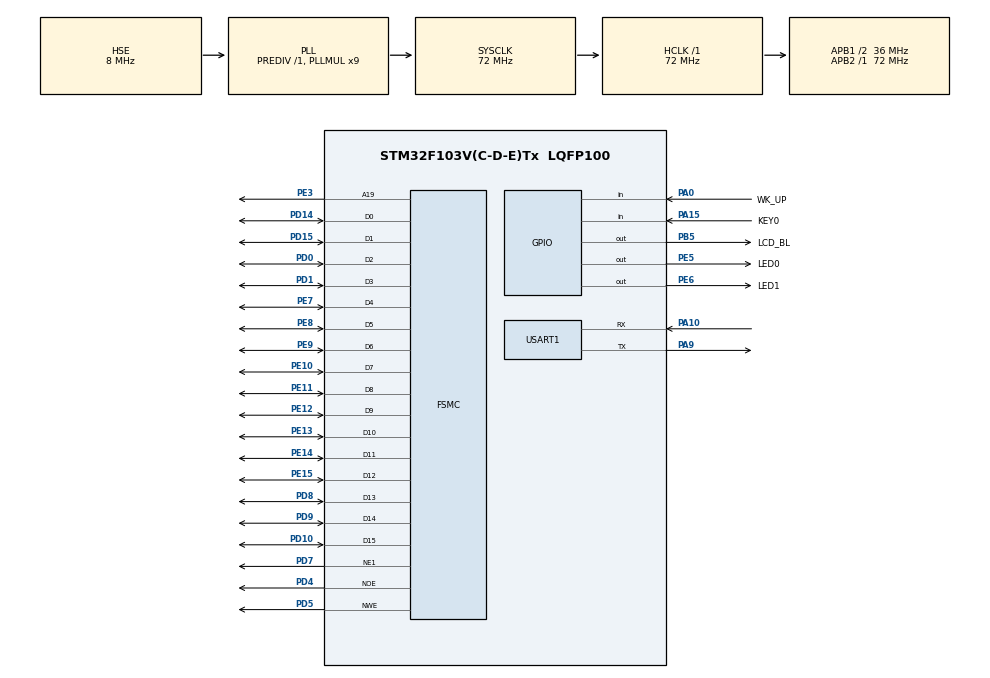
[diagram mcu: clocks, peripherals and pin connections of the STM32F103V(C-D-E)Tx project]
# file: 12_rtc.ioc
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FSMC.AddressSetupTime1=0
FSMC.DataSetupTime1=15
FSMC.ExtendedAddressSetupTime1=0
FSMC.ExtendedDataSetupTime1=1
FSMC.ExtendedMode1=FSMC_EXTENDED_MODE_ENABLE
Mcu.Family=STM32F1
Mcu.Name=STM32F103V(C-D-E)Tx
Mcu.Package=LQFP100
NVIC.PriorityGroup=NVIC_PRIORITYGROUP_2
NVIC.RTC_IRQn=true\:2\:2\:true\:false\:true\:true\:true\:true
NVIC.TIM4_IRQn=true\:2\:1\:true\:false\:true\:true\:true\:true
NVIC.USART1_IRQn=true\:2\:2\:true\:false\:true\:true\:true\:true
OSC_IN.Mode=HSE-External-Oscillator
OSC_IN.Signal=RCC_OSC_IN
OSC_OUT.Mode=HSE-External-Oscillator
OSC_OUT.Signal=RCC_OSC_OUT
PA0-WKUP.GPIO_Label=WK_UP
PA0-WKUP.GPIO_PuPd=GPIO_PULLDOWN
PA0-WKUP.Signal=GPIO_Input
PA10.Mode=Asynchronous
PA10.Signal=USART1_RX
PA13.Mode=Serial_Wire
PA13.Signal=SYS_JTMS-SWDIO
PA14.Mode=Serial_Wire
PA14.Signal=SYS_JTCK-SWCLK
PA15.GPIO_Label=KEY0
PA15.GPIO_PuPd=GPIO_PULLDOWN
PA15.Signal=GPIO_Input
PA9.Mode=Asynchronous
PA9.Signal=USART1_TX
PB5.GPIO_Label=LCD_BL
PB5.GPIO_PuPd=GPIO_PULLUP
PB5.GPIO_Speed=GPIO_SPEED_FREQ_HIGH
PB5.PinState=GPIO_PIN_SET
PB5.Signal=GPIO_Output
PC14-OSC32_IN.Mode=LSE-External-Oscillator
PC14-OSC32_IN.Signal=RCC_OSC32_IN
PC15-OSC32_OUT.Mode=LSE-External-Oscillator
PC15-OSC32_OUT.Signal=RCC_OSC32_OUT
PD0.Mode=16b-d1
PD0.Signal=FSMC_D2
PD1.Mode=16b-d1
PD1.Signal=FSMC_D3
PD10.Mode=16b-d1
PD10.Signal=FSMC_D15
PD14.Mode=16b-d1
PD14.Signal=FSMC_D0
PD15.Mode=16b-d1
PD15.Signal=FSMC_D1
PD4.Mode=Lcd1
PD4.Signal=FSMC_NOE
PD5.Mode=Lcd1
PD5.Signal=FSMC_NWE
PD7.Mode=NorPsramChipSelect1_1
PD7.Signal=FSMC_NE1
PD8.Mode=16b-d1
PD8.Signal=FSMC_D13
PD9.Mode=16b-d1
PD9.Signal=FSMC_D14
PE10.Mode=16b-d1
PE10.Signal=FSMC_D7
PE11.Mode=16b-d1
PE11.Signal=FSMC_D8
PE12.Mode=16b-d1
PE12.Signal=FSMC_D9
PE13.Mode=16b-d1
PE13.Signal=FSMC_D10
PE14.Mode=16b-d1
PE14.Signal=FSMC_D11
PE15.Mode=16b-d1
PE15.Signal=FSMC_D12
PE3.Mode=A19_1
PE3.Signal=FSMC_A19
PE5.GPIO_Label=LED0
PE5.GPIO_PuPd=GPIO_PULLUP
PE5.GPIO_Speed=GPIO_SPEED_FREQ_HIGH
PE5.PinState=GPIO_PIN_SET
PE5.Signal=GPIO_Output
PE6.GPIO_Label=LED1
PE6.GPIO_PuPd=GPIO_PULLUP
PE6.GPIO_Speed=GPIO_SPEED_FREQ_HIGH
PE6.PinState=GPIO_PIN_SET
PE6.Signal=GPIO_Output
PE7.Mode=16b-d1
PE7.Signal=FSMC_D4
PE8.Mode=16b-d1
PE8.Signal=FSMC_D5
PE9.Mode=16b-d1
PE9.Signal=FSMC_D6
ProjectManager.HeapSize=0x200
ProjectManager.StackSize=0x400
ProjectManager.TargetToolchain=STM32CubeIDE
RCC.AHBFreq_Value=72000000
RCC.APB1CLKDivider=RCC_HCLK_DIV2
RCC.APB1Freq_Value=36000000
RCC.APB1TimFreq_Value=72000000
RCC.APB2Freq_Value=72000000
RCC.APB2TimFreq_Value=72000000
RCC.HCLKFreq_Value=72000000
RCC.PLLMUL=RCC_PLL_MUL9
RCC.PLLSourceVirtual=RCC_PLLSOURCE_HSE
RCC.RTCClockSelection=RCC_RTCCLKSOURCE_LSE
RCC.SYSCLKFreq_VALUE=72000000
RCC.SYSCLKSource=RCC_SYSCLKSOURCE_PLLCLK
RCC.USBFreq_Value=72000000
RTC.Hours=9
RTC.Month=RTC_MONTH_MAY
RTC.WeekDay=RTC_WEEKDAY_WEDNESDAY
RTC.Year=24
TIM4.AutoReloadPreload=TIM_AUTORELOAD_PRELOAD_ENABLE
TIM4.Period=1000-1
TIM4.Prescaler=7200-1
USART1.VirtualMode=VM_ASYNC
VP_RTC_No_RTC_Output.Mode=RTC_OUT_NO
VP_RTC_VS_RTC_Activate.Mode=RTC_Enabled
VP_RTC_VS_RTC_Calendar.Mode=RTC_Calendar
VP_TIM4_VS_ClockSourceINT.Mode=Internal
board=custom

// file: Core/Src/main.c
/* USER CODE BEGIN Header */
/**
 ****************************************************************************************************
 * @file        main.c
 * @author      ALIENTEK
 * @brief       rtc code
 * @license     Copyright (C) 2012-2024, ALIENTEK
 ****************************************************************************************************
 * @attention
 *
 * platform     : ALIENTEK M100-STM32F103 board
 * website      : www.alientek.com
 * forum        : www.openedv.com/forum.php
 *
 * change logs  :
 * version      data         notes
 * V1.0         20240409     the first version
 *
 ****************************************************************************************************
 */
/* USER CODE END Header */
#include "main.h"
#include "rtc.h"
#include "tim.h"
#include "usart.h"
#include "gpio.h"
#include "fsmc.h"

/* USER CODE BEGIN Includes */
#include "../../ATK_Middlewares/USMART/usmart.h"
#include "../../BSP/LED/led.h"
#include "../../BSP/KEY/key.h"
#include "../../BSP/LCD/lcd.h"
/* USER CODE END Includes */

/* USER CODE BEGIN PV */
char* weekdays[] = {"Sunday", "Monday", "Tuesday", "Wednesday",
                           "Thursday", "Friday", "Saterday"};
/* USER CODE END PV */

void SystemClock_Config(void);

/* USER CODE BEGIN 0 */
/**
 * @brief   Displays information about the experiment
 * @param   None
 * @retval  None
 */
void stm32f103ve_show_mesg(void)
{
	/* The serial port outputs the experimental information */
	printf("\n");
	printf("********************************\r\n");
	printf("STM32F103\r\n");
	printf("RTC Test\r\n");
	printf("ATOM@ALIENTEK\r\n");
	printf("********************************\r\n");
	printf("\r\n");
}
/* USER CODE END 0 */

int main(void)
{
  /* USER CODE BEGIN 1 */
  uint8_t t = 0;
  char tbuf[40];
  /* USER CODE END 1 */

  /* MCU Configuration--------------------------------------------------------*/

  /* Reset of all peripherals, Initializes the Flash interface and the Systick. */
  HAL_Init();

  /* Configure the system clock */
  SystemClock_Config();

  /* Initialize all configured peripherals */
  MX_GPIO_Init();
  MX_USART1_UART_Init();
  MX_FSMC_Init();
  MX_TIM4_Init();
  MX_RTC_Init();
  /* USER CODE BEGIN 2 */
  rtc_set_alarm(2024, 5, 1, 12, 0, 10);        /* Set an alarm */
  lcd_init();                                  /* Initialize LCD */
  stm32f103ve_show_mesg();
  lcd_show_string(30, 50, 200, 16, 16, "STM32", RED);
  lcd_show_string(30, 70, 200, 16, 16, "RTC TEST", RED);
  lcd_show_string(30, 90, 200, 16, 16, "ATOM@ALIENTEK", RED);
  /* USER CODE END 2 */

  /* Infinite loop */
  /* USER CODE BEGIN WHILE */
  while (1)
  {
    t++;

    if ((t % 10) == 0)
    {
      /* Get the RTC time information */
      rtc_get_time();
      sprintf(tbuf, "Time:%02d:%02d:%02d", g_calendar.hour, g_calendar.min, g_calendar.sec);
      lcd_show_string(30, 120, 210, 16, 16, tbuf, RED);
      sprintf(tbuf, "Date:%04d-%02d-%02d", g_calendar.year, g_calendar.month, g_calendar.date);
      lcd_show_string(30, 140, 210, 16, 16, tbuf, RED);
      sprintf(tbuf, "Week:%s", weekdays[g_calendar.week]);
      lcd_show_string(30, 160, 210, 16, 16, tbuf, RED);
    }

    if (t == 20)
    {
      t = 0;
      LED0_TOGGLE();   /* LED0 blinks to indicate that the program is running */
    }

    HAL_Delay(10);     /* delay 10ms */
    /* USER CODE END WHILE */

  }
}

void SystemClock_Config(void)
{
  RCC_OscInitTypeDef RCC_OscInitStruct = {0};
  RCC_ClkInitTypeDef RCC_ClkInitStruct = {0};
  RCC_PeriphCLKInitTypeDef PeriphClkInit = {0};

  /** Initializes the RCC Oscillators according to the specified parameters
  * in the RCC_OscInitTypeDef structure.
  */
  RCC_OscInitStruct.OscillatorType = RCC_OSCILLATORTYPE_HSE|RCC_OSCILLATORTYPE_LSE;
  RCC_OscInitStruct.HSEState = RCC_HSE_ON;
  RCC_OscInitStruct.HSEPredivValue = RCC_HSE_PREDIV_DIV1;
  RCC_OscInitStruct.LSEState = RCC_LSE_ON;
  RCC_OscInitStruct.HSIState = RCC_HSI_ON;
  RCC_OscInitStruct.PLL.PLLState = RCC_PLL_ON;
  RCC_OscInitStruct.PLL.PLLSource = RCC_PLLSOURCE_HSE;
  RCC_OscInitStruct.PLL.PLLMUL = RCC_PLL_MUL9;
  if (HAL_RCC_OscConfig(&RCC_OscInitStruct) != HAL_OK)
  {
    Error_Handler();
  }

  /** Initializes the CPU, AHB and APB buses clocks
  */
  RCC_ClkInitStruct.ClockType = RCC_CLOCKTYPE_HCLK|RCC_CLOCKTYPE_SYSCLK
                              |RCC_CLOCKTYPE_PCLK1|RCC_CLOCKTYPE_PCLK2;
  RCC_ClkInitStruct.SYSCLKSource = RCC_SYSCLKSOURCE_PLLCLK;
  RCC_ClkInitStruct.AHBCLKDivider = RCC_SYSCLK_DIV1;
  RCC_ClkInitStruct.APB1CLKDivider = RCC_HCLK_DIV2;
  RCC_ClkInitStruct.APB2CLKDivider = RCC_HCLK_DIV1;

  if (HAL_RCC_ClockConfig(&RCC_ClkInitStruct, FLASH_LATENCY_2) != HAL_OK)
  {
    Error_Handler();
  }
  PeriphClkInit.PeriphClockSelection = RCC_PERIPHCLK_RTC;
  PeriphClkInit.RTCClockSelection = RCC_RTCCLKSOURCE_LSE;
  if (HAL_RCCEx_PeriphCLKConfig(&PeriphClkInit) != HAL_OK)
  {
    Error_Handler();
  }
}

void Error_Handler(void)
{
  __disable_irq();
  while (1)
  {
  }
}
